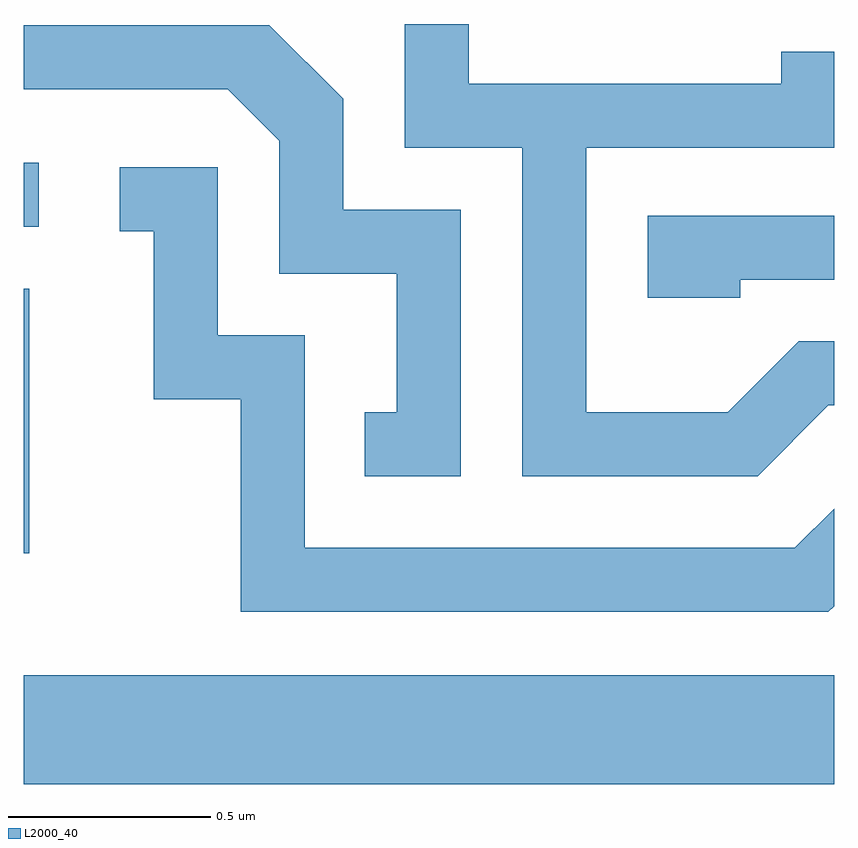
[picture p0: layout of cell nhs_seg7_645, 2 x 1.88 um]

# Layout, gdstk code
import gdstk
lib = gdstk.Library(unit=1e-6, precision=1e-09)
def R(c, l, rs):  # rectangles x0, y0, x1, y1
    for r in rs: c.add(gdstk.rectangle(r[:2], r[2:], *l))
def P(c, l, *ps):  # polygons
    for p in ps: c.add(gdstk.Polygon(p, *l))
L2000_40 = (2000, 40)

nhs_seg7_645 = lib.new_cell('nhs_seg7_645')
R(nhs_seg7_645, L2000_40, [(189.611,1765.376,191.611,1765.644), (189.611,1765.946,189.624,1766.599), (189.611,1766.751,189.648,1766.909)])
P(nhs_seg7_645, L2000_40, [(191.597,1766.311),(191.611,1766.311),(191.611,1766.469),(191.524,1766.469),(191.349,1766.294),(190.999,1766.294),(190.999,1766.946),(191.611,1766.946),(191.611,1767.183),(191.481,1767.183),(191.481,1767.104),(190.709,1767.104),(190.709,1767.252),(190.551,1767.252),(190.551,1766.946),(190.841,1766.946),(190.841,1766.136),(191.422,1766.136)],
  [(190.689,1766.794),(190.399,1766.794),(190.399,1767.067),(190.217,1767.249),(189.611,1767.249),(189.611,1767.091),(190.114,1767.091),(190.241,1766.964),(190.241,1766.636),(190.531,1766.636),(190.531,1766.294),(190.453,1766.294),(190.453,1766.136),(190.689,1766.136)],
  [(191.611,1765.815),(191.611,1766.056),(191.514,1765.959),(190.304,1765.959),(190.304,1766.484),(190.089,1766.484),(190.089,1766.899),(189.848,1766.899),(189.848,1766.741),(189.931,1766.741),(189.931,1766.326),(190.146,1766.326),(190.146,1765.801),(191.597,1765.801)],
  [(191.379,1766.621),(191.611,1766.621),(191.611,1766.779),(191.151,1766.779),(191.151,1766.576),(191.379,1766.576)])

lib.write_gds('nhs_seg7_645.gds')
